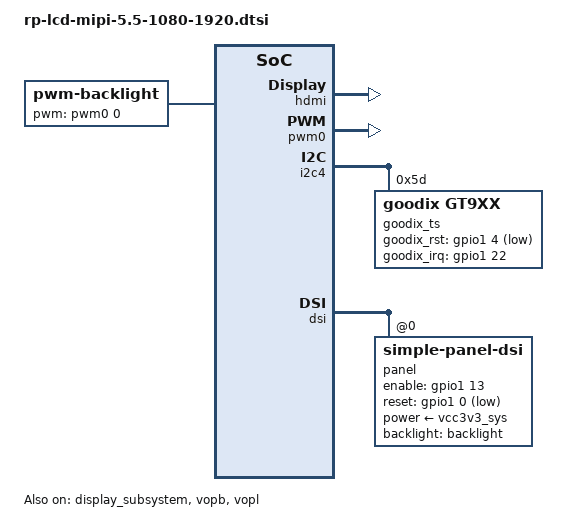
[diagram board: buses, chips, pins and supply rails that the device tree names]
/ {
	backlight: backlight {
		status = "okay";
		compatible = "pwm-backlight";
		pwms = <&pwm0 0 25000 0>;
		brightness-levels = <
			  0   1   2   3   4   5   6   7
			  8   9  10  11  12  13  14  15
			 16  17  18  19  20  21  22  23
			 24  25  26  27  28  29  30  31
			 32  33  34  35  36  37  38  39
			 40  41  42  43  44  45  46  47
			 48  49  50  51  52  53  54  55
			 56  57  58  59  60  61  62  63
			 64  65  66  67  68  69  70  71
			 72  73  74  75  76  77  78  79
			 80  81  82  83  84  85  86  87
			 88  89  90  91  92  93  94  95
			 96  97  98  99 100 101 102 103
			104 105 106 107 108 109 110 111
			112 113 114 115 116 117 118 119
			120 121 122 123 124 125 126 127
			128 129 130 131 132 133 134 135
			136 137 138 139 140 141 142 143
			144 145 146 147 148 149 150 151
			152 153 154 155 156 157 158 159
			160 161 162 163 164 165 166 167
			168 169 170 171 172 173 174 175
			176 177 178 179 180 181 182 183
			184 185 186 187 188 189 190 191
			192 193 194 195 196 197 198 199
			200 201 202 203 204 205 206 207
			208 209 210 211 212 213 214 215
			216 217 218 219 220 221 222 223
			224 225 226 227 228 229 230 231
			232 233 234 235 236 237 238 239
			240 241 242 243 244 245 246 247
			248 249 250 251 252 253 254 255>;
		default-brightness-level = <255>;
	};
};


&hdmi {
	#address-cells = <1>;
	#size-cells = <0>;
	#sound-dai-cells = <0>;
	ddc-i2c-scl-high-time-ns = <9625>;
	ddc-i2c-scl-low-time-ns = <10000>;
	status = "okay";
};

&pwm0 {
	status = "okay";
};

&i2c4 {
        status = "okay";
	goodix_ts@5d {
		compatible = "goodix,gt9xx";
		reg = <0x5d>;
		
		goodix_rst_gpio = <&gpio1 4 GPIO_ACTIVE_LOW>;
		goodix_irq_gpio = <&gpio1 22 IRQ_TYPE_EDGE_RISING>;
	
	        goodix,cfg-group0 = [
			 47 38 04 80 07 0A 05 00 
			 01 08 28 05 50 32 03 05 
			 00 00 00 00 00 00 00 00 
			 00 00 00 8B 2B 0D 17 15 
			 31 0D 00 00 00 9A 03 2D 
			 00 00 00 00 00 03 64 32 
			 00 00 00 0F 2C 94 C5 02 
			 07 00 00 04 9E 10 00 82 
			 14 00 6B 19 00 57 20 00 
			 4A 27 00 4A 00 00 00 00 
			 00 00 00 00 00 00 00 00 
			 00 00 00 00 00 00 00 00 
			 00 00 00 00 00 00 00 00 
			 00 00 00 00 00 00 00 00 
			 1A 18 16 14 12 10 0E 0C 
			 0A 08 06 04 02 FF 00 00 
			 00 00 00 00 00 00 00 00 
			 00 00 00 00 00 00 00 02 
			 04 06 08 0A 0C 0F 10 12 
			 13 26 24 22 21 20 1F 1E 
			 1D 1C 18 16 FF FF FF FF 
			 00 00 00 00 00 00 00 00 
			 00 00 00 00 00 00 00 00 
			 8C 01
			];	
	};
};


&display_subsystem {
	status = "okay";

	ports = <&vopb_out>, <&vopl_out>;
	logo-memory-region = <&drm_logo>;

	route {
		route_hdmi: route-hdmi {
			status = "okay";
			logo,uboot = "logo.bmp";
			logo,kernel = "logo_kernel.bmp";
			logo,mode = "fullscreen";
			charge_logo,mode = "center";
			connect = <&vopl_out_hdmi>;
		};

		route_dsi: route-dsi {
			status = "okay";
			logo,uboot = "logo.bmp";
			logo,kernel = "logo_kernel.bmp";
			logo,mode = "fullscreen";
			charge_logo,mode = "center";
			connect = <&vopb_out_dsi>;
		};

		route_dsi1: route-dsi1 {
			status = "disabled";
			logo,uboot = "logo.bmp";
			logo,kernel = "logo_kernel.bmp";
			logo,mode = "fullscreen";
			charge_logo,mode = "center";
			connect = <&vopl_out_dsi1>;
		};

		route_edp: route-edp {
			status = "disabled";
			logo,uboot = "logo.bmp";
			logo,kernel = "logo_kernel.bmp";
			logo,mode = "fullscreen";
			charge_logo,mode = "center";
			connect = <&vopb_out_edp>;
		};
	};
};

&dsi {
        status = "okay";
//	rockchip,lane-rate = <410>;

        panel {
                compatible ="simple-panel-dsi";
                status = "okay";
                reg = <0>;
		power-supply = <&vcc3v3_sys>;
                backlight = <&backlight>;
		cmd_later_reset = <0>;
                enable-gpios = <&gpio1 13 GPIO_ACTIVE_HIGH>;
		reset-gpios  = <&gpio1 0 GPIO_ACTIVE_LOW>;
                dsi,flags = <(MIPI_DSI_MODE_VIDEO | MIPI_DSI_MODE_VIDEO_BURST |
                                MIPI_DSI_MODE_VIDEO_SYNC_PULSE)>;
                dsi,format = <MIPI_DSI_FMT_RGB888>;
//		bus-format = <MEDIA_BUS_FMT_RGB666_1X24>;
                dsi,lanes = <4>;
                reset-delay-ms = <20>;
		init-delay-ms = <20>;
		enable-delay-ms = <120>;
                prepare-delay-ms = <120>;

					//for king/rp/rd board cannot enable boot logo
                                        pinctrl-names = "default";
                                        pinctrl-0 = <&pwr_en>;
               panel-init-sequence = [
			15 00 02 FE 00
			15 00 02 C2 08
			15 00 02 35 00
			15 00 02 53 20
			15 00 02 51 FF
			
			05 78 01 29
			05 78 01 11
			
                ];

               panel-exit-sequence = [
                        05 00 01 28
                        05 78 01 10
                ];

                display-timings {
                        native-mode = <&timing0>;
                        timing0: timing0 {
				clock-frequency = <138000000>;
				hactive = <1080>;
				vactive = <1920>;
				hback-porch = <30>;
				hfront-porch = <36>;
				vback-porch = <6>;
				vfront-porch = <6>;
				hsync-len = <4>;
				vsync-len = <2>;
                                hsync-active = <0>;
                                vsync-active = <0>;
                                de-active = <0>;
                                pixelclk-active = <0>;
                        };
                };
        };
};

&route_dsi {
	status = "okay";
};

&vopb {
        assigned-clocks = <&cru DCLK_VOP0_DIV>;
        assigned-clock-parents = <&cru PLL_CPLL>;
        status = "okay";
};

&vopb_mmu {
        status = "okay";
};

&vopl {
        assigned-clocks = <&cru DCLK_VOP1_DIV>;
        assigned-clock-parents = <&cru PLL_VPLL>;
        status = "okay";
};

&vopl_mmu {
        status = "okay";
};

&dsi_in_vopl { 
        status = "disabled"; 
}; 
 
&hdmi_in_vopb { 
        status = "disabled"; 
}; 
 
&edp_in_vopb { 
        status = "disabled"; 
}; 
&edp_in_vopl { 
        status = "disabled"; 
}; 

&dsi1_in_vopb { 
        status = "disabled"; 
}; 
&dsi1_in_vopl { 
        status = "disabled"; 
}; 

&pinctrl{
        pwr_5v {
                        pwr_en: pwr-en {
                                rockchip,pins = //<1 13 RK_FUNC_GPIO &pcfg_pull_up>,
                                                <4 30 RK_FUNC_GPIO &pcfg_pull_up>;
                        };
        };
};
